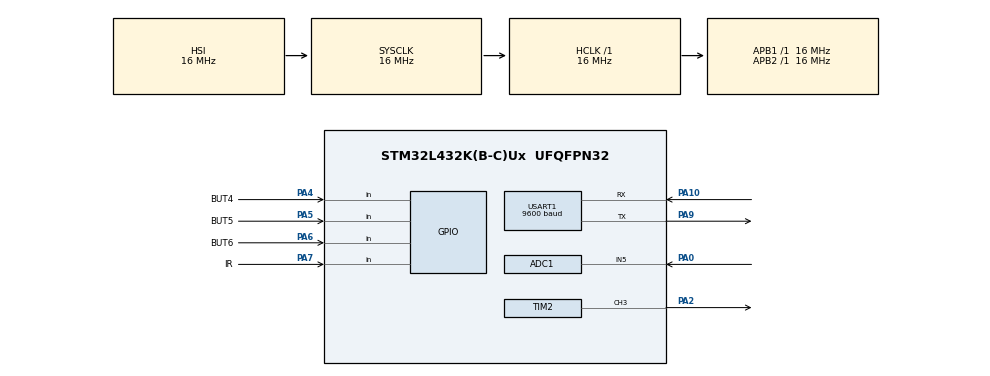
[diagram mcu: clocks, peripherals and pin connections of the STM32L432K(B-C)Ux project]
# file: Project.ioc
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ADC1.Channel-0\#ChannelRegularConversion=ADC_CHANNEL_5
ADC1.NbrOfConversionFlag=1
ADC1.OffsetNumber-0\#ChannelRegularConversion=ADC_OFFSET_NONE
ADC1.Rank-0\#ChannelRegularConversion=1
ADC1.SamplingTime-0\#ChannelRegularConversion=ADC_SAMPLETIME_2CYCLES_5
ADC1.master=1
Mcu.Family=STM32L4
Mcu.Name=STM32L432K(B-C)Ux
Mcu.Package=UFQFPN32
NVIC.PriorityGroup=NVIC_PRIORITYGROUP_4
PA0.Signal=ADCx_IN5
PA10.Mode=Asynchronous
PA10.Signal=USART1_RX
PA2.Signal=S_TIM2_CH3
PA4.GPIO_Label=BUT4
PA4.GPIO_PuPd=GPIO_PULLUP
PA4.Signal=GPIO_Input
PA5.GPIO_Label=BUT5
PA5.GPIO_PuPd=GPIO_PULLUP
PA5.Signal=GPIO_Input
PA6.GPIO_Label=BUT6
PA6.GPIO_PuPd=GPIO_PULLUP
PA6.Signal=GPIO_Input
PA7.GPIO_Label=IR
PA7.GPIO_PuPd=GPIO_PULLUP
PA7.Signal=GPIO_Input
PA9.Mode=Asynchronous
PA9.Signal=USART1_TX
PC14-OSC32_IN\ (PC14).Mode=LSE-External-Oscillator
PC14-OSC32_IN\ (PC14).Signal=RCC_OSC32_IN
PC15-OSC32_OUT\ (PC15).Mode=LSE-External-Oscillator
PC15-OSC32_OUT\ (PC15).Signal=RCC_OSC32_OUT
ProjectManager.HeapSize=0x200
ProjectManager.StackSize=0x400
ProjectManager.TargetToolchain=STM32CubeIDE
RCC.ADCFreq_Value=80000000
RCC.AHBFreq_Value=16000000
RCC.APB1Freq_Value=16000000
RCC.APB1TimFreq_Value=16000000
RCC.APB2Freq_Value=16000000
RCC.APB2TimFreq_Value=16000000
RCC.CortexFreq_Value=16000000
RCC.HCLKFreq_Value=16000000
RCC.HSE_VALUE=8000000
RCC.HSI48_VALUE=48000000
RCC.HSI_VALUE=16000000
RCC.MSI_VALUE=4000000
RCC.PLLSAI1N=40
RCC.SYSCLKFreq_VALUE=16000000
RCC.SYSCLKSource=RCC_SYSCLKSOURCE_HSI
RCC.USBFreq_Value=80000000
RCC.VCOOutputFreq_Value=32000000
SH.ADCx_IN5.0=ADC1_IN5,IN5-Single-Ended
SH.S_TIM2_CH3.0=TIM2_CH3,PWM Generation3 CH3
TIM2.Channel-PWM\ Generation3\ CH3=TIM_CHANNEL_3
TIM2.Period=100
USART1.BaudRate=9600
USART1.VirtualMode-Asynchronous=VM_ASYNC
VP_TIM2_VS_ClockSourceINT.Mode=Internal
board=custom

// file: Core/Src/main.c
/* USER CODE BEGIN Header */
/**
  ******************************************************************************
  * @file           : main.c
  * @brief          : Main program body
  ******************************************************************************
  * @attention
  *
  * Copyright (c) 2024 STMicroelectronics.
  * All rights reserved.
  *
  * This software is licensed under terms that can be found in the LICENSE file
  * in the root directory of this software component.
  * If no LICENSE file comes with this software, it is provided AS-IS.
  *
  ******************************************************************************
  */
/* USER CODE END Header */
#include "main.h"

/* USER CODE BEGIN Includes */
#include <string.h>
#include <stdio.h>
/* USER CODE END Includes */

/* USER CODE BEGIN PTD */
typedef enum {
    BUTTON4_PRESSED,
    BUTTON5_PRESSED,
    BUTTON6_PRESSED,
    NO_BUTTON_PRESSED
} ButtonState;

ButtonState read_buttons(void);
/* USER CODE END PTD */

/* USER CODE BEGIN PD */
#define TEMP_ONE 15
#define TEMP_TWO 20
#define TEMP_THREE 25
#define DEBOUNCE_TIME 1000
/* USER CODE END PD */

ADC_HandleTypeDef hadc1;

TIM_HandleTypeDef htim2;

UART_HandleTypeDef huart1;

/* USER CODE BEGIN PV */
uint16_t adcVal;
char msg[10];
uint8_t but_1;
uint8_t but_2;
uint8_t but_3;
unsigned int timing;
/* USER CODE END PV */

void SystemClock_Config(void);
static void MX_GPIO_Init(void);
static void MX_ADC1_Init(void);
static void MX_TIM2_Init(void);
static void MX_USART1_UART_Init(void);

/* USER CODE BEGIN 0 */

inline extern uint8_t READ_BIN(uint8_t input, uint8_t position)
{
	return (input & (1 << position)) >> position;
}

double map(uint16_t x, uint16_t value_x_1, uint16_t value_x_2, uint16_t value_y_1, uint16_t value_y_2)
{
	double m = (double)(value_y_2 - value_y_1) / (value_x_2 - value_x_1);
	double rezult = m*x +(value_y_1-m*value_x_1);
    return rezult;
}

ButtonState read_buttons(void)
{
		but_1 ^= (HAL_GPIO_ReadPin(BUT4_GPIO_Port, BUT4_Pin) == GPIO_PIN_RESET);
		but_2 ^= (HAL_GPIO_ReadPin(BUT5_GPIO_Port, BUT5_Pin) == GPIO_PIN_RESET);
		but_3 ^= (HAL_GPIO_ReadPin(BUT6_GPIO_Port, BUT6_Pin) == GPIO_PIN_RESET);

	     if (READ_BIN(but_1, 0))
	     {
	         return BUTTON4_PRESSED;
	     }
	     else if (READ_BIN(but_2, 0))
	     {
	         return BUTTON5_PRESSED;
	     }
	     else if (READ_BIN(but_3, 0))
	     {
	         return BUTTON6_PRESSED;
	     }
	     else
	     {
	         return NO_BUTTON_PRESSED;
	     }
}
/* USER CODE END 0 */

int main(void)
{

  /* MCU Configuration--------------------------------------------------------*/

  /* Reset of all peripherals, Initializes the Flash interface and the Systick. */
  HAL_Init();

  /* Configure the system clock */
  SystemClock_Config();

  /* Initialize all configured peripherals */
  MX_GPIO_Init();
  MX_ADC1_Init();
  MX_TIM2_Init();
  MX_USART1_UART_Init();
  /* USER CODE BEGIN 2 */
  HAL_TIM_PWM_Start(&htim2, TIM_CHANNEL_3);
  /* USER CODE END 2 */

  /* Infinite loop */
  /* USER CODE BEGIN WHILE */
  ButtonState buttonState;
  while (1)
  {
	  HAL_ADC_Start(&hadc1);
	  HAL_ADC_PollForConversion(&hadc1, 100);
	  adcVal = HAL_ADC_GetValue(&hadc1);
	  HAL_ADC_Stop(&hadc1);

	  buttonState = read_buttons();

	  if(HAL_GPIO_ReadPin(IR_GPIO_Port, IR_Pin) == GPIO_PIN_RESET)
	  {

	  	switch (buttonState) {
	  		 case BUTTON4_PRESSED:
	  		    HAL_UART_Transmit(&huart1, (uint8_t*)"Vegetables 10%\n", 13, HAL_MAX_DELAY);
	  		    TIM2 -> CCR3 = 10;
	  		    timing = 60000;
	  		    break;
	  		 case BUTTON5_PRESSED:
	  		    HAL_UART_Transmit(&huart1, (uint8_t*)"Milk 50%\n", 9, HAL_MAX_DELAY);
	  		    TIM2 -> CCR3 = 50;
	  		    timing = 120000;
	  		    break;
	  		 case BUTTON6_PRESSED:
	  		    HAL_UART_Transmit(&huart1, (uint8_t*)"Meat 100%\n", 10, HAL_MAX_DELAY);
                TIM2 -> CCR3 = 100;
                timing = 180000;
	  		    break;
             case NO_BUTTON_PRESSED:
	  		    TIM2 -> CCR3 = 0;
	  		    break;
	  	}

	  }

	  if(timing < HAL_GetTick())
	  {
		  HAL_UART_Transmit(&huart1, (uint8_t*)"Your food is out of date\n", 24, 100);
	  }
	  HAL_Delay(100);

	  sprintf(msg, "%hu\r\n", adcVal);
	  HAL_UART_Transmit(&huart1, (uint8_t*)msg, strlen(msg), 100);
    /* USER CODE END WHILE */

  }
}

void SystemClock_Config(void)
{
  RCC_OscInitTypeDef RCC_OscInitStruct = {0};
  RCC_ClkInitTypeDef RCC_ClkInitStruct = {0};

  /** Configure the main internal regulator output voltage
  */
  if (HAL_PWREx_ControlVoltageScaling(PWR_REGULATOR_VOLTAGE_SCALE1) != HAL_OK)
  {
    Error_Handler();
  }

  /** Configure LSE Drive Capability
  */
  HAL_PWR_EnableBkUpAccess();
  __HAL_RCC_LSEDRIVE_CONFIG(RCC_LSEDRIVE_LOW);

  /** Initializes the RCC Oscillators according to the specified parameters
  * in the RCC_OscInitTypeDef structure.
  */
  RCC_OscInitStruct.OscillatorType = RCC_OSCILLATORTYPE_HSI|RCC_OSCILLATORTYPE_LSE
                              |RCC_OSCILLATORTYPE_MSI;
  RCC_OscInitStruct.LSEState = RCC_LSE_ON;
  RCC_OscInitStruct.HSIState = RCC_HSI_ON;
  RCC_OscInitStruct.HSICalibrationValue = RCC_HSICALIBRATION_DEFAULT;
  RCC_OscInitStruct.MSIState = RCC_MSI_ON;
  RCC_OscInitStruct.MSICalibrationValue = 0;
  RCC_OscInitStruct.MSIClockRange = RCC_MSIRANGE_6;
  RCC_OscInitStruct.PLL.PLLState = RCC_PLL_NONE;
  if (HAL_RCC_OscConfig(&RCC_OscInitStruct) != HAL_OK)
  {
    Error_Handler();
  }

  /** Initializes the CPU, AHB and APB buses clocks
  */
  RCC_ClkInitStruct.ClockType = RCC_CLOCKTYPE_HCLK|RCC_CLOCKTYPE_SYSCLK
                              |RCC_CLOCKTYPE_PCLK1|RCC_CLOCKTYPE_PCLK2;
  RCC_ClkInitStruct.SYSCLKSource = RCC_SYSCLKSOURCE_HSI;
  RCC_ClkInitStruct.AHBCLKDivider = RCC_SYSCLK_DIV1;
  RCC_ClkInitStruct.APB1CLKDivider = RCC_HCLK_DIV1;
  RCC_ClkInitStruct.APB2CLKDivider = RCC_HCLK_DIV1;

  if (HAL_RCC_ClockConfig(&RCC_ClkInitStruct, FLASH_LATENCY_0) != HAL_OK)
  {
    Error_Handler();
  }

  /** Enable MSI Auto calibration
  */
  HAL_RCCEx_EnableMSIPLLMode();
}

static void MX_ADC1_Init(void)
{

  ADC_ChannelConfTypeDef sConfig = {0};

  /** Common config
  */
  hadc1.Instance = ADC1;
  hadc1.Init.ClockPrescaler = ADC_CLOCK_ASYNC_DIV1;
  hadc1.Init.Resolution = ADC_RESOLUTION_12B;
  hadc1.Init.DataAlign = ADC_DATAALIGN_RIGHT;
  hadc1.Init.ScanConvMode = ADC_SCAN_DISABLE;
  hadc1.Init.EOCSelection = ADC_EOC_SINGLE_CONV;
  hadc1.Init.LowPowerAutoWait = DISABLE;
  hadc1.Init.ContinuousConvMode = DISABLE;
  hadc1.Init.NbrOfConversion = 1;
  hadc1.Init.DiscontinuousConvMode = DISABLE;
  hadc1.Init.ExternalTrigConv = ADC_SOFTWARE_START;
  hadc1.Init.ExternalTrigConvEdge = ADC_EXTERNALTRIGCONVEDGE_NONE;
  hadc1.Init.DMAContinuousRequests = DISABLE;
  hadc1.Init.Overrun = ADC_OVR_DATA_PRESERVED;
  hadc1.Init.OversamplingMode = DISABLE;
  if (HAL_ADC_Init(&hadc1) != HAL_OK)
  {
    Error_Handler();
  }

  /** Configure Regular Channel
  */
  sConfig.Channel = ADC_CHANNEL_5;
  sConfig.Rank = ADC_REGULAR_RANK_1;
  sConfig.SamplingTime = ADC_SAMPLETIME_2CYCLES_5;
  sConfig.SingleDiff = ADC_SINGLE_ENDED;
  sConfig.OffsetNumber = ADC_OFFSET_NONE;
  sConfig.Offset = 0;
  if (HAL_ADC_ConfigChannel(&hadc1, &sConfig) != HAL_OK)
  {
    Error_Handler();
  }

}

static void MX_TIM2_Init(void)
{

  TIM_ClockConfigTypeDef sClockSourceConfig = {0};
  TIM_MasterConfigTypeDef sMasterConfig = {0};
  TIM_OC_InitTypeDef sConfigOC = {0};

  htim2.Instance = TIM2;
  htim2.Init.Prescaler = 0;
  htim2.Init.CounterMode = TIM_COUNTERMODE_UP;
  htim2.Init.Period = 100;
  htim2.Init.ClockDivision = TIM_CLOCKDIVISION_DIV1;
  htim2.Init.AutoReloadPreload = TIM_AUTORELOAD_PRELOAD_DISABLE;
  if (HAL_TIM_Base_Init(&htim2) != HAL_OK)
  {
    Error_Handler();
  }
  sClockSourceConfig.ClockSource = TIM_CLOCKSOURCE_INTERNAL;
  if (HAL_TIM_ConfigClockSource(&htim2, &sClockSourceConfig) != HAL_OK)
  {
    Error_Handler();
  }
  if (HAL_TIM_PWM_Init(&htim2) != HAL_OK)
  {
    Error_Handler();
  }
  sMasterConfig.MasterOutputTrigger = TIM_TRGO_RESET;
  sMasterConfig.MasterSlaveMode = TIM_MASTERSLAVEMODE_DISABLE;
  if (HAL_TIMEx_MasterConfigSynchronization(&htim2, &sMasterConfig) != HAL_OK)
  {
    Error_Handler();
  }
  sConfigOC.OCMode = TIM_OCMODE_PWM1;
  sConfigOC.Pulse = 0;
  sConfigOC.OCPolarity = TIM_OCPOLARITY_HIGH;
  sConfigOC.OCFastMode = TIM_OCFAST_DISABLE;
  if (HAL_TIM_PWM_ConfigChannel(&htim2, &sConfigOC, TIM_CHANNEL_3) != HAL_OK)
  {
    Error_Handler();
  }
  HAL_TIM_MspPostInit(&htim2);

}

static void MX_USART1_UART_Init(void)
{

  huart1.Instance = USART1;
  huart1.Init.BaudRate = 9600;
  huart1.Init.WordLength = UART_WORDLENGTH_8B;
  huart1.Init.StopBits = UART_STOPBITS_1;
  huart1.Init.Parity = UART_PARITY_NONE;
  huart1.Init.Mode = UART_MODE_TX_RX;
  huart1.Init.HwFlowCtl = UART_HWCONTROL_NONE;
  huart1.Init.OverSampling = UART_OVERSAMPLING_16;
  huart1.Init.OneBitSampling = UART_ONE_BIT_SAMPLE_DISABLE;
  huart1.AdvancedInit.AdvFeatureInit = UART_ADVFEATURE_NO_INIT;
  if (HAL_UART_Init(&huart1) != HAL_OK)
  {
    Error_Handler();
  }

}

static void MX_GPIO_Init(void)
{
  GPIO_InitTypeDef GPIO_InitStruct = {0};

  /* GPIO Ports Clock Enable */
  __HAL_RCC_GPIOC_CLK_ENABLE();
  __HAL_RCC_GPIOA_CLK_ENABLE();

  /*Configure GPIO pins : BUT4_Pin BUT5_Pin BUT6_Pin IR_Pin */
  GPIO_InitStruct.Pin = BUT4_Pin|BUT5_Pin|BUT6_Pin|IR_Pin;
  GPIO_InitStruct.Mode = GPIO_MODE_INPUT;
  GPIO_InitStruct.Pull = GPIO_PULLUP;
  HAL_GPIO_Init(GPIOA, &GPIO_InitStruct);

}

void Error_Handler(void)
{
  __disable_irq();
  while (1)
  {
  }
}
